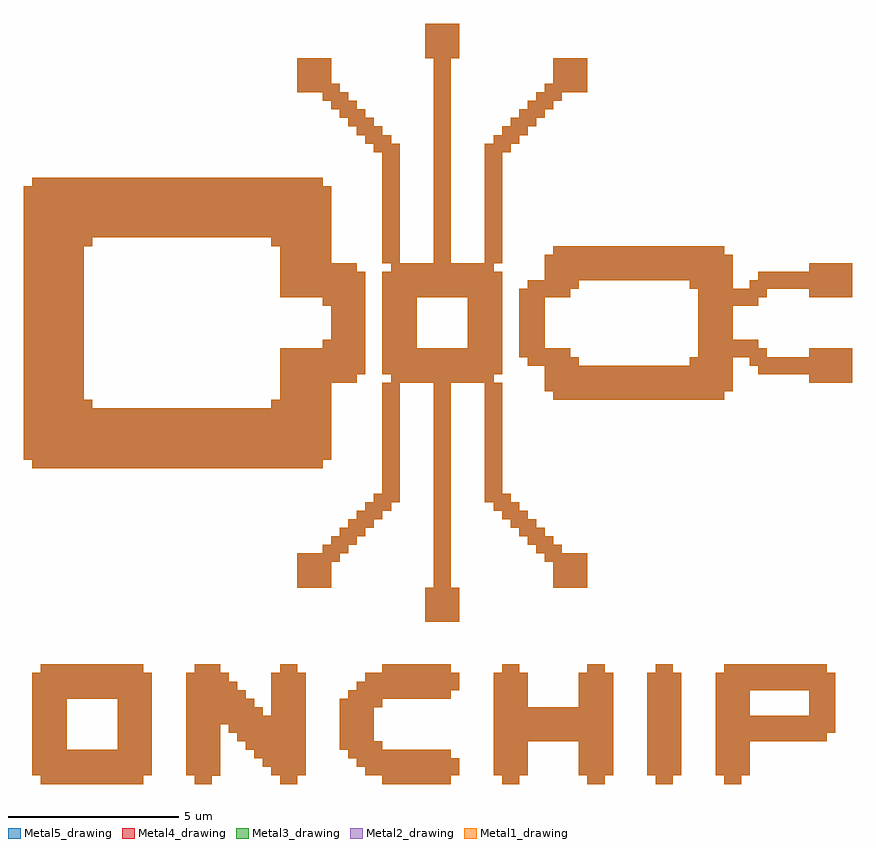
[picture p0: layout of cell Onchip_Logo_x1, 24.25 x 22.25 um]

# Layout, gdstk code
import gdstk
lib = gdstk.Library(unit=1e-6, precision=1e-09)
def R(c, l, rs):  # rectangles x0, y0, x1, y1
    for r in rs: c.add(gdstk.rectangle(r[:2], r[2:], *l))
def A(c, l, x, y, w, h, nx, ny, dx, dy):  # array of equal rectangles
    R(c, l, [(x+i*dx, y+j*dy, x+i*dx+w, y+j*dy+h) for i in range(nx) for j in range(ny)])
Metal1_drawing = (8, 0)
Metal2_drawing = (10, 0)
Metal3_drawing = (30, 0)
Metal4_drawing = (50, 0)
Metal5_drawing = (67, 0)

onchip_logo_x1 = lib.new_cell('Onchip_Logo_x1')
A(onchip_logo_x1, Metal1_drawing, 16.5, 0, 0.5, 3.5, 3, 1, 2, 0)
R(onchip_logo_x1, Metal1_drawing, [(0.5,0,1.25,3.5), (1.25,0,2.75,1), (2.75,0,3.5,3.5), (5,0,5.5,3.5), (7.5,0,8,3.5), (10.5,0,12.5,1), (14,0,14.5,3.5), (5.5,0.245,5.75,3.5), (0.25,0.25,0.5,3.25), (3.5,0.25,3.75,3.25), (4.75,0.25,5,3.25), (7.25,0.25,7.5,3.25), (8,0.25,8.25,3.25), (10,0.25,10.25,3.25), (10.25,0.25,10.5,1.25), (12.5,0.25,12.75,0.75), (13.75,0.25,14,3.25), (14.5,0.25,14.75,3.25), (16.25,0.25,16.5,3.25), (17,0.25,17.25,3.25), (18.25,0.25,18.5,3.25), (19,0.25,19.25,3.25), (20.25,0.25,20.5,3.25), (21,0.25,21.25,3.5), (7,0.5,7.25,2), (9.75,0.5,10,3), (6.75,0.75,7,2.25), (9.5,0.75,9.75,2.75), (6.5,1,6.75,2.5), (9.25,1,9.5,2.5), (6.25,1.25,6.5,2.75), (14.75,1.25,16.25,2.25), (21.25,1.25,23,2), (23,1.25,23.5,3.5), (6,1.5,6.25,3), (23.5,1.5,23.75,3.25), (5.75,1.75,6,3.25), (10.25,2.25,10.5,3.25), (1.25,2.5,2.75,3.5), (10.5,2.5,12.5,3.5), (12.5,2.75,12.75,3.25), (21.25,2.75,23,3.5), (11.75,4.75,12,5.75), (12,4.75,12.5,12.75), (12.5,4.75,12.75,5.75), (8,5.75,8.75,6.75), (8.75,5.75,9,7), (15.5,5.75,15.75,7), (15.75,5.75,16.5,6.75), (9,6.5,9.25,7.25), (15.25,6.5,15.5,7.25), (9.25,6.75,9.5,7.5), (15,6.75,15.25,7.5), (9.5,7,9.75,7.75), (14.75,7,15,7.75), (9.75,7.25,10,8), (14.5,7.25,14.75,8), (10,7.5,10.25,8.25), (14.25,7.5,14.5,8.25), (10.25,7.75,10.5,8.5), (14,7.75,14.25,8.5), (10.5,8,10.75,11.75), (13.75,8,14,11.75), (10.75,8.25,11,18.75), (13.5,8.25,13.75,18.75), (0.25,9.25,1.75,17.75), (1.75,9.25,2,11.25), (2,9.25,7.25,11), (7.25,9.25,7.5,11.25), (7.5,9.25,8.75,12.75), (0,9.5,0.25,17.5), (8.75,9.5,9,13), (15.5,11.25,16,12.75), (16,11.25,16.25,12.5), (16.25,11.25,19.5,12.25), (19.5,11.25,19.75,12.5), (19.75,11.25,20.5,15.75), (15.25,11.5,15.5,12.75), (20.5,11.5,20.75,15.5), (9,11.75,9.75,15.25), (11,11.75,11.5,15.25), (11.5,11.75,12,12.75), (12.5,11.75,13,12.75), (13,11.75,13.5,15.25), (23,11.75,24.25,12.75), (9.75,12,10,15), (10.5,12,10.75,15), (13.75,12,14,15), (21.5,12,21.75,12.75), (21.75,12,23,12.5), (14.75,12.25,15.25,14.75), (21.25,12.25,21.5,13), (14.5,12.5,14.75,14.5), (20.75,12.5,21.25,13), (8.75,14,9,17.5), (20.75,14,21.25,14.5), (21.25,14,21.5,14.75), (7.5,14.25,8.75,17.75), (11.5,14.25,12,15.25), (12,14.25,12.5,22.25), (12.5,14.25,13,15.25), (15.25,14.25,15.5,15.5), (15.5,14.25,16,15.75), (21.5,14.25,21.75,15), (23,14.25,24.25,15.25), (16,14.5,16.25,15.75), (19.5,14.5,19.75,15.75), (21.75,14.5,23,15), (16.25,14.75,19.5,15.75), (10.5,15.25,10.75,19), (13.75,15.25,14,19), (1.75,15.75,2,17.75), (7.25,15.75,7.5,17.75), (2,16,7.25,17.75), (10.25,18.5,10.5,19.25), (14,18.5,14.25,19.25), (10,18.75,10.25,19.5), (14.25,18.75,14.5,19.5), (9.75,19,10,19.75), (14.5,19,14.75,19.75), (9.5,19.25,9.75,20), (14.75,19.25,15,20), (9.25,19.5,9.5,20.25), (15,19.5,15.25,20.25), (9,19.75,9.25,20.5), (15.25,19.75,15.5,20.5), (8.75,20,9,21.25), (15.5,20,15.75,21.25), (8,20.25,8.75,21.25), (15.75,20.25,16.5,21.25), (11.75,21.25,12,22.25), (11.75,21.25,12,22.25), (12.5,21.25,12.75,22.25), (12.5,21.25,12.75,22.25)])
A(onchip_logo_x1, Metal2_drawing, 16.5, 0, 0.5, 3.5, 3, 1, 2, 0)
R(onchip_logo_x1, Metal2_drawing, [(0.5,0,1.25,3.5), (1.25,0,2.75,1), (2.75,0,3.5,3.5), (5,0,5.5,3.5), (7.5,0,8,3.5), (10.5,0,12.5,1), (14,0,14.5,3.5), (5.5,0.245,5.75,3.5), (0.25,0.25,0.5,3.25), (3.5,0.25,3.75,3.25), (4.75,0.25,5,3.25), (7.25,0.25,7.5,3.25), (8,0.25,8.25,3.25), (10,0.25,10.25,3.25), (10.25,0.25,10.5,1.25), (12.5,0.25,12.75,0.75), (13.75,0.25,14,3.25), (14.5,0.25,14.75,3.25), (16.25,0.25,16.5,3.25), (17,0.25,17.25,3.25), (18.25,0.25,18.5,3.25), (19,0.25,19.25,3.25), (20.25,0.25,20.5,3.25), (21,0.25,21.25,3.5), (7,0.5,7.25,2), (9.75,0.5,10,3), (6.75,0.75,7,2.25), (9.5,0.75,9.75,2.75), (6.5,1,6.75,2.5), (9.25,1,9.5,2.5), (6.25,1.25,6.5,2.75), (14.75,1.25,16.25,2.25), (21.25,1.25,23,2), (23,1.25,23.5,3.5), (6,1.5,6.25,3), (23.5,1.5,23.75,3.25), (5.75,1.75,6,3.25), (10.25,2.25,10.5,3.25), (1.25,2.5,2.75,3.5), (10.5,2.5,12.5,3.5), (12.5,2.75,12.75,3.25), (21.25,2.75,23,3.5), (11.75,4.75,12,5.75), (12,4.75,12.5,12.75), (12.5,4.75,12.75,5.75), (8,5.75,8.75,6.75), (8.75,5.75,9,7), (15.5,5.75,15.75,7), (15.75,5.75,16.5,6.75), (9,6.5,9.25,7.25), (15.25,6.5,15.5,7.25), (9.25,6.75,9.5,7.5), (15,6.75,15.25,7.5), (9.5,7,9.75,7.75), (14.75,7,15,7.75), (9.75,7.25,10,8), (14.5,7.25,14.75,8), (10,7.5,10.25,8.25), (14.25,7.5,14.5,8.25), (10.25,7.75,10.5,8.5), (14,7.75,14.25,8.5), (10.5,8,10.75,11.75), (13.75,8,14,11.75), (10.75,8.25,11,18.75), (13.5,8.25,13.75,18.75), (0.25,9.25,1.75,17.75), (1.75,9.25,2,11.25), (2,9.25,7.25,11), (7.25,9.25,7.5,11.25), (7.5,9.25,8.75,12.75), (0,9.5,0.25,17.5), (8.75,9.5,9,13), (15.5,11.25,16,12.75), (16,11.25,16.25,12.5), (16.25,11.25,19.5,12.25), (19.5,11.25,19.75,12.5), (19.75,11.25,20.5,15.75), (15.25,11.5,15.5,12.75), (20.5,11.5,20.75,15.5), (9,11.75,9.75,15.25), (11,11.75,11.5,15.25), (11.5,11.75,12,12.75), (12.5,11.75,13,12.75), (13,11.75,13.5,15.25), (23,11.75,24.25,12.75), (9.75,12,10,15), (10.5,12,10.75,15), (13.75,12,14,15), (21.5,12,21.75,12.75), (21.75,12,23,12.5), (14.75,12.25,15.25,14.75), (21.25,12.25,21.5,13), (14.5,12.5,14.75,14.5), (20.75,12.5,21.25,13), (8.75,14,9,17.5), (20.75,14,21.25,14.5), (21.25,14,21.5,14.75), (7.5,14.25,8.75,17.75), (11.5,14.25,12,15.25), (12,14.25,12.5,22.25), (12.5,14.25,13,15.25), (15.25,14.25,15.5,15.5), (15.5,14.25,16,15.75), (21.5,14.25,21.75,15), (23,14.25,24.25,15.25), (16,14.5,16.25,15.75), (19.5,14.5,19.75,15.75), (21.75,14.5,23,15), (16.25,14.75,19.5,15.75), (10.5,15.25,10.75,19), (13.75,15.25,14,19), (1.75,15.75,2,17.75), (7.25,15.75,7.5,17.75), (2,16,7.25,17.75), (10.25,18.5,10.5,19.25), (14,18.5,14.25,19.25), (10,18.75,10.25,19.5), (14.25,18.75,14.5,19.5), (9.75,19,10,19.75), (14.5,19,14.75,19.75), (9.5,19.25,9.75,20), (14.75,19.25,15,20), (9.25,19.5,9.5,20.25), (15,19.5,15.25,20.25), (9,19.75,9.25,20.5), (15.25,19.75,15.5,20.5), (8.75,20,9,21.25), (15.5,20,15.75,21.25), (8,20.25,8.75,21.25), (15.75,20.25,16.5,21.25), (11.75,21.25,12,22.25), (11.75,21.25,12,22.25), (12.5,21.25,12.75,22.25), (12.5,21.25,12.75,22.25)])
A(onchip_logo_x1, Metal3_drawing, 16.5, 0, 0.5, 3.5, 3, 1, 2, 0)
R(onchip_logo_x1, Metal3_drawing, [(0.5,0,1.25,3.5), (1.25,0,2.75,1), (2.75,0,3.5,3.5), (5,0,5.5,3.5), (7.5,0,8,3.5), (10.5,0,12.5,1), (14,0,14.5,3.5), (5.5,0.245,5.75,3.5), (0.25,0.25,0.5,3.25), (3.5,0.25,3.75,3.25), (4.75,0.25,5,3.25), (7.25,0.25,7.5,3.25), (8,0.25,8.25,3.25), (10,0.25,10.25,3.25), (10.25,0.25,10.5,1.25), (12.5,0.25,12.75,0.75), (13.75,0.25,14,3.25), (14.5,0.25,14.75,3.25), (16.25,0.25,16.5,3.25), (17,0.25,17.25,3.25), (18.25,0.25,18.5,3.25), (19,0.25,19.25,3.25), (20.25,0.25,20.5,3.25), (21,0.25,21.25,3.5), (7,0.5,7.25,2), (9.75,0.5,10,3), (6.75,0.75,7,2.25), (9.5,0.75,9.75,2.75), (6.5,1,6.75,2.5), (9.25,1,9.5,2.5), (6.25,1.25,6.5,2.75), (14.75,1.25,16.25,2.25), (21.25,1.25,23,2), (23,1.25,23.5,3.5), (6,1.5,6.25,3), (23.5,1.5,23.75,3.25), (5.75,1.75,6,3.25), (10.25,2.25,10.5,3.25), (1.25,2.5,2.75,3.5), (10.5,2.5,12.5,3.5), (12.5,2.75,12.75,3.25), (21.25,2.75,23,3.5), (11.75,4.75,12,5.75), (12,4.75,12.5,12.75), (12.5,4.75,12.75,5.75), (8,5.75,8.75,6.75), (8.75,5.75,9,7), (15.5,5.75,15.75,7), (15.75,5.75,16.5,6.75), (9,6.5,9.25,7.25), (15.25,6.5,15.5,7.25), (9.25,6.75,9.5,7.5), (15,6.75,15.25,7.5), (9.5,7,9.75,7.75), (14.75,7,15,7.75), (9.75,7.25,10,8), (14.5,7.25,14.75,8), (10,7.5,10.25,8.25), (14.25,7.5,14.5,8.25), (10.25,7.75,10.5,8.5), (14,7.75,14.25,8.5), (10.5,8,10.75,11.75), (13.75,8,14,11.75), (10.75,8.25,11,18.75), (13.5,8.25,13.75,18.75), (0.25,9.25,1.75,17.75), (1.75,9.25,2,11.25), (2,9.25,7.25,11), (7.25,9.25,7.5,11.25), (7.5,9.25,8.75,12.75), (0,9.5,0.25,17.5), (8.75,9.5,9,13), (15.5,11.25,16,12.75), (16,11.25,16.25,12.5), (16.25,11.25,19.5,12.25), (19.5,11.25,19.75,12.5), (19.75,11.25,20.5,15.75), (15.25,11.5,15.5,12.75), (20.5,11.5,20.75,15.5), (9,11.75,9.75,15.25), (11,11.75,11.5,15.25), (11.5,11.75,12,12.75), (12.5,11.75,13,12.75), (13,11.75,13.5,15.25), (23,11.75,24.25,12.75), (9.75,12,10,15), (10.5,12,10.75,15), (13.75,12,14,15), (21.5,12,21.75,12.75), (21.75,12,23,12.5), (14.75,12.25,15.25,14.75), (21.25,12.25,21.5,13), (14.5,12.5,14.75,14.5), (20.75,12.5,21.25,13), (8.75,14,9,17.5), (20.75,14,21.25,14.5), (21.25,14,21.5,14.75), (7.5,14.25,8.75,17.75), (11.5,14.25,12,15.25), (12,14.25,12.5,22.25), (12.5,14.25,13,15.25), (15.25,14.25,15.5,15.5), (15.5,14.25,16,15.75), (21.5,14.25,21.75,15), (23,14.25,24.25,15.25), (16,14.5,16.25,15.75), (19.5,14.5,19.75,15.75), (21.75,14.5,23,15), (16.25,14.75,19.5,15.75), (10.5,15.25,10.75,19), (13.75,15.25,14,19), (1.75,15.75,2,17.75), (7.25,15.75,7.5,17.75), (2,16,7.25,17.75), (10.25,18.5,10.5,19.25), (14,18.5,14.25,19.25), (10,18.75,10.25,19.5), (14.25,18.75,14.5,19.5), (9.75,19,10,19.75), (14.5,19,14.75,19.75), (9.5,19.25,9.75,20), (14.75,19.25,15,20), (9.25,19.5,9.5,20.25), (15,19.5,15.25,20.25), (9,19.75,9.25,20.5), (15.25,19.75,15.5,20.5), (8.75,20,9,21.25), (15.5,20,15.75,21.25), (8,20.25,8.75,21.25), (15.75,20.25,16.5,21.25), (11.75,21.25,12,22.25), (11.75,21.25,12,22.25), (12.5,21.25,12.75,22.25), (12.5,21.25,12.75,22.25)])
A(onchip_logo_x1, Metal4_drawing, 16.5, 0, 0.5, 3.5, 3, 1, 2, 0)
R(onchip_logo_x1, Metal4_drawing, [(0.5,0,1.25,3.5), (1.25,0,2.75,1), (2.75,0,3.5,3.5), (5,0,5.5,3.5), (7.5,0,8,3.5), (10.5,0,12.5,1), (14,0,14.5,3.5), (5.5,0.245,5.75,3.5), (0.25,0.25,0.5,3.25), (3.5,0.25,3.75,3.25), (4.75,0.25,5,3.25), (7.25,0.25,7.5,3.25), (8,0.25,8.25,3.25), (10,0.25,10.25,3.25), (10.25,0.25,10.5,1.25), (12.5,0.25,12.75,0.75), (13.75,0.25,14,3.25), (14.5,0.25,14.75,3.25), (16.25,0.25,16.5,3.25), (17,0.25,17.25,3.25), (18.25,0.25,18.5,3.25), (19,0.25,19.25,3.25), (20.25,0.25,20.5,3.25), (21,0.25,21.25,3.5), (7,0.5,7.25,2), (9.75,0.5,10,3), (6.75,0.75,7,2.25), (9.5,0.75,9.75,2.75), (6.5,1,6.75,2.5), (9.25,1,9.5,2.5), (6.25,1.25,6.5,2.75), (14.75,1.25,16.25,2.25), (21.25,1.25,23,2), (23,1.25,23.5,3.5), (6,1.5,6.25,3), (23.5,1.5,23.75,3.25), (5.75,1.75,6,3.25), (10.25,2.25,10.5,3.25), (1.25,2.5,2.75,3.5), (10.5,2.5,12.5,3.5), (12.5,2.75,12.75,3.25), (21.25,2.75,23,3.5), (11.75,4.75,12,5.75), (12,4.75,12.5,12.75), (12.5,4.75,12.75,5.75), (8,5.75,8.75,6.75), (8.75,5.75,9,7), (15.5,5.75,15.75,7), (15.75,5.75,16.5,6.75), (9,6.5,9.25,7.25), (15.25,6.5,15.5,7.25), (9.25,6.75,9.5,7.5), (15,6.75,15.25,7.5), (9.5,7,9.75,7.75), (14.75,7,15,7.75), (9.75,7.25,10,8), (14.5,7.25,14.75,8), (10,7.5,10.25,8.25), (14.25,7.5,14.5,8.25), (10.25,7.75,10.5,8.5), (14,7.75,14.25,8.5), (10.5,8,10.75,11.75), (13.75,8,14,11.75), (10.75,8.25,11,18.75), (13.5,8.25,13.75,18.75), (0.25,9.25,1.75,17.75), (1.75,9.25,2,11.25), (2,9.25,7.25,11), (7.25,9.25,7.5,11.25), (7.5,9.25,8.75,12.75), (0,9.5,0.25,17.5), (8.75,9.5,9,13), (15.5,11.25,16,12.75), (16,11.25,16.25,12.5), (16.25,11.25,19.5,12.25), (19.5,11.25,19.75,12.5), (19.75,11.25,20.5,15.75), (15.25,11.5,15.5,12.75), (20.5,11.5,20.75,15.5), (9,11.75,9.75,15.25), (11,11.75,11.5,15.25), (11.5,11.75,12,12.75), (12.5,11.75,13,12.75), (13,11.75,13.5,15.25), (23,11.75,24.25,12.75), (9.75,12,10,15), (10.5,12,10.75,15), (13.75,12,14,15), (21.5,12,21.75,12.75), (21.75,12,23,12.5), (14.75,12.25,15.25,14.75), (21.25,12.25,21.5,13), (14.5,12.5,14.75,14.5), (20.75,12.5,21.25,13), (8.75,14,9,17.5), (20.75,14,21.25,14.5), (21.25,14,21.5,14.75), (7.5,14.25,8.75,17.75), (11.5,14.25,12,15.25), (12,14.25,12.5,22.25), (12.5,14.25,13,15.25), (15.25,14.25,15.5,15.5), (15.5,14.25,16,15.75), (21.5,14.25,21.75,15), (23,14.25,24.25,15.25), (16,14.5,16.25,15.75), (19.5,14.5,19.75,15.75), (21.75,14.5,23,15), (16.25,14.75,19.5,15.75), (10.5,15.25,10.75,19), (13.75,15.25,14,19), (1.75,15.75,2,17.75), (7.25,15.75,7.5,17.75), (2,16,7.25,17.75), (10.25,18.5,10.5,19.25), (14,18.5,14.25,19.25), (10,18.75,10.25,19.5), (14.25,18.75,14.5,19.5), (9.75,19,10,19.75), (14.5,19,14.75,19.75), (9.5,19.25,9.75,20), (14.75,19.25,15,20), (9.25,19.5,9.5,20.25), (15,19.5,15.25,20.25), (9,19.75,9.25,20.5), (15.25,19.75,15.5,20.5), (8.75,20,9,21.25), (15.5,20,15.75,21.25), (8,20.25,8.75,21.25), (15.75,20.25,16.5,21.25), (11.75,21.25,12,22.25), (11.75,21.25,12,22.25), (12.5,21.25,12.75,22.25), (12.5,21.25,12.75,22.25)])
A(onchip_logo_x1, Metal5_drawing, 16.5, 0, 0.5, 3.5, 3, 1, 2, 0)
R(onchip_logo_x1, Metal5_drawing, [(0.5,0,1.25,3.5), (1.25,0,2.75,1), (2.75,0,3.5,3.5), (5,0,5.5,3.5), (7.5,0,8,3.5), (10.5,0,12.5,1), (14,0,14.5,3.5), (5.5,0.245,5.75,3.5), (0.25,0.25,0.5,3.25), (3.5,0.25,3.75,3.25), (4.75,0.25,5,3.25), (7.25,0.25,7.5,3.25), (8,0.25,8.25,3.25), (10,0.25,10.25,3.25), (10.25,0.25,10.5,1.25), (12.5,0.25,12.75,0.75), (13.75,0.25,14,3.25), (14.5,0.25,14.75,3.25), (16.25,0.25,16.5,3.25), (17,0.25,17.25,3.25), (18.25,0.25,18.5,3.25), (19,0.25,19.25,3.25), (20.25,0.25,20.5,3.25), (21,0.25,21.25,3.5), (7,0.5,7.25,2), (9.75,0.5,10,3), (6.75,0.75,7,2.25), (9.5,0.75,9.75,2.75), (6.5,1,6.75,2.5), (9.25,1,9.5,2.5), (6.25,1.25,6.5,2.75), (14.75,1.25,16.25,2.25), (21.25,1.25,23,2), (23,1.25,23.5,3.5), (6,1.5,6.25,3), (23.5,1.5,23.75,3.25), (5.75,1.75,6,3.25), (10.25,2.25,10.5,3.25), (1.25,2.5,2.75,3.5), (10.5,2.5,12.5,3.5), (12.5,2.75,12.75,3.25), (21.25,2.75,23,3.5), (11.75,4.75,12,5.75), (12,4.75,12.5,12.75), (12.5,4.75,12.75,5.75), (8,5.75,8.75,6.75), (8.75,5.75,9,7), (15.5,5.75,15.75,7), (15.75,5.75,16.5,6.75), (9,6.5,9.25,7.25), (15.25,6.5,15.5,7.25), (9.25,6.75,9.5,7.5), (15,6.75,15.25,7.5), (9.5,7,9.75,7.75), (14.75,7,15,7.75), (9.75,7.25,10,8), (14.5,7.25,14.75,8), (10,7.5,10.25,8.25), (14.25,7.5,14.5,8.25), (10.25,7.75,10.5,8.5), (14,7.75,14.25,8.5), (10.5,8,10.75,11.75), (13.75,8,14,11.75), (10.75,8.25,11,18.75), (13.5,8.25,13.75,18.75), (0.25,9.25,1.75,17.75), (1.75,9.25,2,11.25), (2,9.25,7.25,11), (7.25,9.25,7.5,11.25), (7.5,9.25,8.75,12.75), (0,9.5,0.25,17.5), (8.75,9.5,9,13), (15.5,11.25,16,12.75), (16,11.25,16.25,12.5), (16.25,11.25,19.5,12.25), (19.5,11.25,19.75,12.5), (19.75,11.25,20.5,15.75), (15.25,11.5,15.5,12.75), (20.5,11.5,20.75,15.5), (9,11.75,9.75,15.25), (11,11.75,11.5,15.25), (11.5,11.75,12,12.75), (12.5,11.75,13,12.75), (13,11.75,13.5,15.25), (23,11.75,24.25,12.75), (9.75,12,10,15), (10.5,12,10.75,15), (13.75,12,14,15), (21.5,12,21.75,12.75), (21.75,12,23,12.5), (14.75,12.25,15.25,14.75), (21.25,12.25,21.5,13), (14.5,12.5,14.75,14.5), (20.75,12.5,21.25,13), (8.75,14,9,17.5), (20.75,14,21.25,14.5), (21.25,14,21.5,14.75), (7.5,14.25,8.75,17.75), (11.5,14.25,12,15.25), (12,14.25,12.5,22.25), (12.5,14.25,13,15.25), (15.25,14.25,15.5,15.5), (15.5,14.25,16,15.75), (21.5,14.25,21.75,15), (23,14.25,24.25,15.25), (16,14.5,16.25,15.75), (19.5,14.5,19.75,15.75), (21.75,14.5,23,15), (16.25,14.75,19.5,15.75), (10.5,15.25,10.75,19), (13.75,15.25,14,19), (1.75,15.75,2,17.75), (7.25,15.75,7.5,17.75), (2,16,7.25,17.75), (10.25,18.5,10.5,19.25), (14,18.5,14.25,19.25), (10,18.75,10.25,19.5), (14.25,18.75,14.5,19.5), (9.75,19,10,19.75), (14.5,19,14.75,19.75), (9.5,19.25,9.75,20), (14.75,19.25,15,20), (9.25,19.5,9.5,20.25), (15,19.5,15.25,20.25), (9,19.75,9.25,20.5), (15.25,19.75,15.5,20.5), (8.75,20,9,21.25), (15.5,20,15.75,21.25), (8,20.25,8.75,21.25), (15.75,20.25,16.5,21.25), (11.75,21.25,12,22.25), (11.75,21.25,12,22.25), (12.5,21.25,12.75,22.25), (12.5,21.25,12.75,22.25)])

lib.write_gds('Onchip_Logo_x1.gds')
